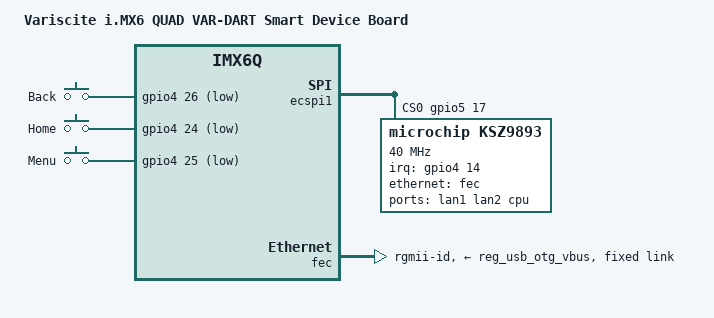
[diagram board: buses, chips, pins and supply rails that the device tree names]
/*
 * Copyright (C) 2015-2017 Variscite Ltd.
 *
 * This program is free software; you can redistribute it and/or modify
 * it under the terms of the GNU General Public License version 2 as
 * published by the Free Software Foundation.
 */

/dts-v1/;

#include "imx6q.dtsi"
#include "imx6qdl-iris2.dtsi"

/ {
	model = "Variscite i.MX6 QUAD VAR-DART Smart Device Board";
	compatible = "fsl,imx6q-var-dart", "fsl,imx6q";

	gpio-keys {
		compatible = "gpio-keys";
		back {
			label = "Back";
			gpios = <&gpio4 26 1>;
			linux,code = <KEY_BACK>;
			gpio-key,wakeup;
		};
		home {
			label = "Home";
			gpios = <&gpio4 24 1>;
			linux,code = <KEY_HOMEPAGE>;
			gpio-key,wakeup;
		};
		menu {
			label = "Menu";
			gpios = <&gpio4 25 1>;
			linux,code = <KEY_MENU>;
			gpio-key,wakeup;
		};
	};
};

&cpu0 {
	operating-points = <
		/* kHz    uV */
		1200000	1350000
		996000	1250000
		852000	1250000
		792000	1175000
		396000	1175000
	>;
	fsl,soc-operating-points = <
		/* ARM kHz  SOC-PU uV */
		1200000	1275000
		996000	1250000
		852000	1250000
		792000	1250000
		396000	1250000
	>;
};

&ecspi1 {
	fsl,spi-num-chipselects = <1>;
	cs-gpios = <&gpio5 17 0>;
	pinctrl-names = "default";
	pinctrl-0 = <&pinctrl_ecspi1>;
	status = "okay";

	ksz9893: ksz9893@0 {
		compatible = "microchip,ksz9893";
		reg = <0>;
		spi-max-frequency = <40000000>;
		spi-cpha;
		spi-cpol;
		interrupt-parent = <&gpio4>;
		interrupts = <14 IRQ_TYPE_LEVEL_LOW>;
		status = "okay";
		ports {
			#address-cells = <1>;
			#size-cells = <0>;
			port@0 {
				#address-cells = <1>;
				#size-cells = <0>;
				reg = <0>;
				label = "lan1";
			};
			port@1 {
				#address-cells = <1>;
				#size-cells = <0>;
				reg = <1>;
				label = "lan2";
			};
			port@2 {
				#address-cells = <1>;
				#size-cells = <0>;
				reg = <2>;
				label = "cpu";
				ethernet = <&fec>;
				fixed-link {
					speed = <1000>;
					full-duplex;
				};
			};
		};
	};
};

&fec {
	phy-mode = "rgmii-id";
	phy-reset-duration = <10>;	/* 10ms reset duration (per KSZ9393R.pdf pg. 171) */
	phy-reset-post-delay = <1>;	/* >100us post-reset delay (per KSZ9393R.pdf pg. 171) */
	phy-supply = <&reg_usb_otg_vbus>;
	fixed-link {
		speed = <1000>;
		full-duplex;
	};
};

&ldb {
	status = "disabled";
	};

&mxcfb1 {
	status = "disabled";
};

&mxcfb2 {
	status = "disabled";
};

&mxcfb3 {
	status = "disabled";
};

&mxcfb4 {
	status = "disabled";
};

&sata {
	status = "disabled";
};
